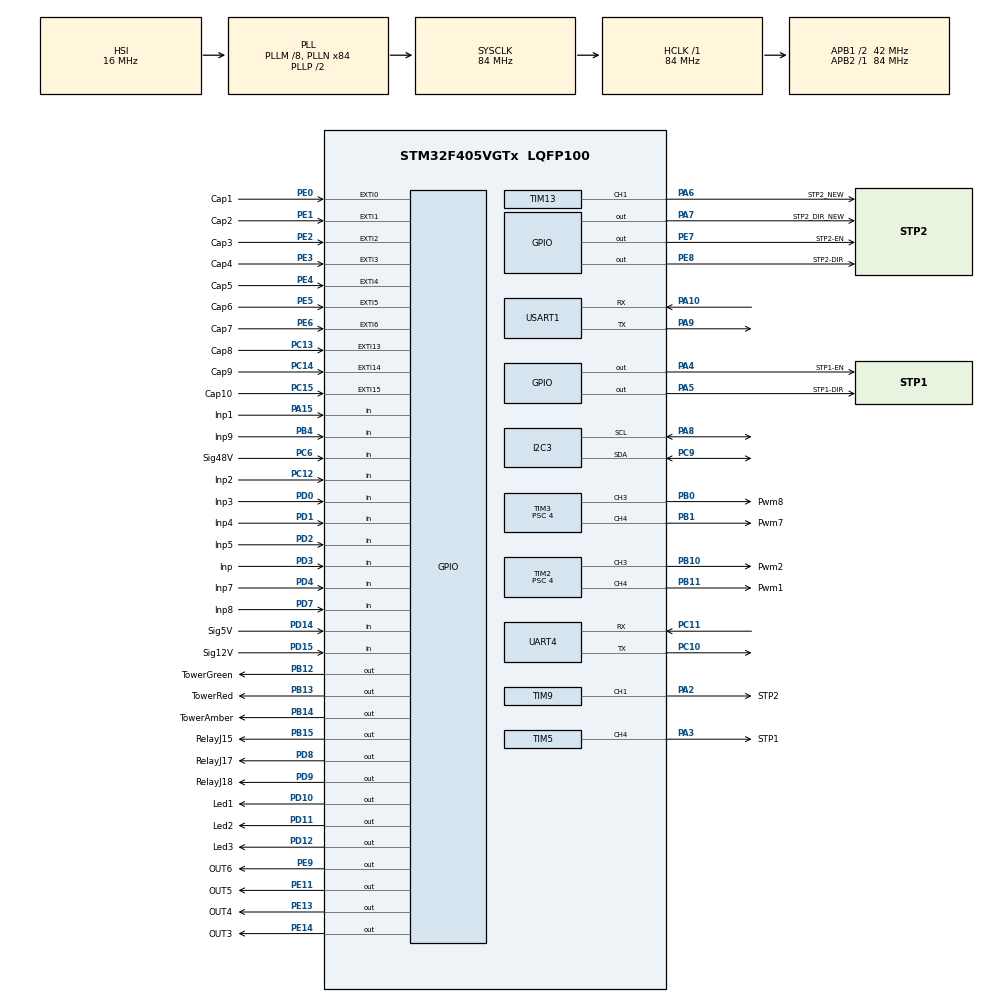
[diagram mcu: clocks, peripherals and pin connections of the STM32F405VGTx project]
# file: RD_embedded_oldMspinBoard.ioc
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Mcu.Family=STM32F4
Mcu.Name=STM32F405VGTx
Mcu.Package=LQFP100
NVIC.EXTI0_IRQn=true\:0\:0\:false\:false\:true\:true\:true\:true
NVIC.EXTI15_10_IRQn=true\:0\:0\:false\:false\:true\:true\:true\:true
NVIC.EXTI1_IRQn=true\:0\:0\:false\:false\:true\:true\:true\:true
NVIC.EXTI2_IRQn=true\:0\:0\:false\:false\:true\:true\:true\:true
NVIC.EXTI3_IRQn=true\:0\:0\:false\:false\:true\:true\:true\:true
NVIC.EXTI4_IRQn=true\:0\:0\:false\:false\:true\:true\:true\:true
NVIC.EXTI9_5_IRQn=true\:0\:0\:false\:false\:true\:true\:true\:true
NVIC.PriorityGroup=NVIC_PRIORITYGROUP_4
NVIC.TIM1_BRK_TIM9_IRQn=true\:0\:0\:false\:false\:true\:true\:true\:true
NVIC.TIM5_IRQn=true\:0\:0\:false\:false\:true\:true\:true\:true
NVIC.TIM6_DAC_IRQn=true\:0\:0\:false\:false\:true\:true\:true\:true
NVIC.TIM7_IRQn=true\:0\:0\:false\:false\:true\:true\:true\:true
NVIC.TIM8_TRG_COM_TIM14_IRQn=true\:0\:0\:false\:false\:true\:true\:true\:true
NVIC.TIM8_UP_TIM13_IRQn=true\:0\:0\:false\:false\:true\:true\:true\:true
NVIC.UART4_IRQn=true\:0\:0\:false\:false\:true\:true\:true\:true
NVIC.USART1_IRQn=true\:0\:0\:false\:false\:true\:true\:true\:true
PA10.Mode=Asynchronous
PA10.Signal=USART1_RX
PA15.GPIO_Label=Inp1
PA15.Signal=GPIO_Input
PA2.GPIO_Label=STP2
PA2.Signal=S_TIM9_CH1
PA3.GPIO_Label=STP1
PA3.Signal=S_TIM5_CH4
PA4.GPIO_Label=STP1-EN
PA4.Signal=GPIO_Output
PA5.GPIO_Label=STP1-DIR
PA5.Signal=GPIO_Output
PA6.GPIO_Label=STP2_NEW
PA6.Signal=S_TIM13_CH1
PA7.GPIO_Label=STP2_DIR_NEW
PA7.Signal=GPIO_Output
PA8.GPIO_Pu=GPIO_PULLUP
PA8.Mode=I2C
PA8.Signal=I2C3_SCL
PA9.Mode=Asynchronous
PA9.Signal=USART1_TX
PB0.GPIO_Label=Pwm8
PB0.Signal=S_TIM3_CH3
PB1.GPIO_Label=Pwm7
PB1.Signal=S_TIM3_CH4
PB10.GPIO_Label=Pwm2
PB10.Signal=S_TIM2_CH3
PB11.GPIO_Label=Pwm1
PB11.Signal=S_TIM2_CH4
PB12.GPIO_Label=TowerGreen
PB12.Signal=GPIO_Output
PB13.GPIO_Label=TowerRed
PB13.Signal=GPIO_Output
PB14.GPIO_Label=TowerAmber
PB14.Signal=GPIO_Output
PB15.GPIO_Label=RelayJ15
PB15.Signal=GPIO_Output
PB4.GPIO_Label=Inp9
PB4.Signal=GPIO_Input
PC10.Mode=Asynchronous
PC10.Signal=UART4_TX
PC11.Mode=Asynchronous
PC11.Signal=UART4_RX
PC12.GPIO_Label=Inp2
PC12.Signal=GPIO_Input
PC13-ANTI_TAMP.GPIO_Label=Cap8
PC13-ANTI_TAMP.GPIO_ModeDefaultEXTI=GPIO_MODE_IT_RISING_FALLING
PC13-ANTI_TAMP.GPIO_PuPd=GPIO_PULLUP
PC13-ANTI_TAMP.Signal=GPXTI13
PC14-OSC32_IN.GPIO_Label=Cap9
PC14-OSC32_IN.GPIO_ModeDefaultEXTI=GPIO_MODE_IT_RISING_FALLING
PC14-OSC32_IN.GPIO_PuPd=GPIO_PULLUP
PC14-OSC32_IN.Signal=GPXTI14
PC15-OSC32_OUT.GPIO_Label=Cap10
PC15-OSC32_OUT.GPIO_ModeDefaultEXTI=GPIO_MODE_IT_RISING_FALLING
PC15-OSC32_OUT.GPIO_PuPd=GPIO_PULLUP
PC15-OSC32_OUT.Signal=GPXTI15
PC6.GPIO_Label=Sig48V
PC6.Signal=GPIO_Input
PC9.GPIO_Pu=GPIO_PULLUP
PC9.Mode=I2C
PC9.Signal=I2C3_SDA
PD0.GPIO_Label=Inp3
PD0.Signal=GPIO_Input
PD1.GPIO_Label=Inp4
PD1.Signal=GPIO_Input
PD10.GPIO_Label=Led1
PD10.Signal=GPIO_Output
PD11.GPIO_Label=Led2
PD11.Signal=GPIO_Output
PD12.GPIO_Label=Led3
PD12.Signal=GPIO_Output
PD14.GPIO_Label=Sig5V
PD14.Signal=GPIO_Input
PD15.GPIO_Label=Sig12V
PD15.Signal=GPIO_Input
PD2.GPIO_Label=Inp5
PD2.Signal=GPIO_Input
PD3.GPIO_Label=Inp
PD3.Signal=GPIO_Input
PD4.GPIO_Label=Inp7
PD4.Signal=GPIO_Input
PD7.GPIO_Label=Inp8
PD7.Signal=GPIO_Input
PD8.GPIO_Label=RelayJ17
PD8.Signal=GPIO_Output
PD9.GPIO_Label=RelayJ18
PD9.Signal=GPIO_Output
PE0.GPIO_Label=Cap1
PE0.GPIO_ModeDefaultEXTI=GPIO_MODE_IT_RISING_FALLING
PE0.GPIO_PuPd=GPIO_PULLUP
PE0.Signal=GPXTI0
PE1.GPIO_Label=Cap2
PE1.GPIO_ModeDefaultEXTI=GPIO_MODE_IT_RISING_FALLING
PE1.GPIO_PuPd=GPIO_PULLUP
PE1.Signal=GPXTI1
PE11.GPIO_Label=OUT5
PE11.Signal=GPIO_Output
PE13.GPIO_Label=OUT4
PE13.Signal=GPIO_Output
PE14.GPIO_Label=OUT3
PE14.Signal=GPIO_Output
PE2.GPIO_Label=Cap3
PE2.GPIO_ModeDefaultEXTI=GPIO_MODE_IT_RISING_FALLING
PE2.GPIO_PuPd=GPIO_PULLUP
PE2.Signal=GPXTI2
PE3.GPIO_Label=Cap4
PE3.GPIO_ModeDefaultEXTI=GPIO_MODE_IT_RISING_FALLING
PE3.GPIO_PuPd=GPIO_PULLUP
PE3.Signal=GPXTI3
PE4.GPIO_Label=Cap5
PE4.GPIO_ModeDefaultEXTI=GPIO_MODE_IT_RISING_FALLING
PE4.GPIO_PuPd=GPIO_PULLUP
PE4.Signal=GPXTI4
PE5.GPIO_Label=Cap6
PE5.GPIO_ModeDefaultEXTI=GPIO_MODE_IT_RISING_FALLING
PE5.GPIO_PuPd=GPIO_PULLUP
PE5.Signal=GPXTI5
PE6.GPIO_Label=Cap7
PE6.GPIO_ModeDefaultEXTI=GPIO_MODE_IT_RISING_FALLING
PE6.GPIO_PuPd=GPIO_PULLUP
PE6.Signal=GPXTI6
PE7.GPIO_Label=STP2-EN
PE7.Signal=GPIO_Output
PE8.GPIO_Label=STP2-DIR
PE8.Signal=GPIO_Output
PE9.GPIO_Label=OUT6
PE9.Signal=GPIO_Output
ProjectManager.HeapSize=0x200
ProjectManager.StackSize=0x400
ProjectManager.TargetToolchain=STM32CubeIDE
RCC.48MHZClocksFreq_Value=42000000
RCC.AHBFreq_Value=84000000
RCC.APB1CLKDivider=RCC_HCLK_DIV2
RCC.APB1Freq_Value=42000000
RCC.APB1TimFreq_Value=84000000
RCC.APB2Freq_Value=84000000
RCC.APB2TimFreq_Value=84000000
RCC.CortexFreq_Value=84000000
RCC.HCLKFreq_Value=84000000
RCC.HSE_VALUE=25000000
RCC.HSI_VALUE=16000000
RCC.LSE_VALUE=32768
RCC.PLLM=8
RCC.PLLN=84
RCC.SYSCLKFreq_VALUE=84000000
RCC.SYSCLKSource=RCC_SYSCLKSOURCE_PLLCLK
RCC.VCOOutputFreq_Value=168000000
SH.S_TIM13_CH1.0=TIM13_CH1,PWM Generation1 CH1
SH.S_TIM2_CH3.0=TIM2_CH3,PWM Generation3 CH3
SH.S_TIM2_CH4.0=TIM2_CH4,PWM Generation4 CH4
SH.S_TIM3_CH3.0=TIM3_CH3,PWM Generation3 CH3
SH.S_TIM3_CH4.0=TIM3_CH4,PWM Generation4 CH4
SH.S_TIM5_CH4.0=TIM5_CH4,PWM Generation4 CH4
SH.S_TIM9_CH1.0=TIM9_CH1,PWM Generation1 CH1
TIM13.Channel=TIM_CHANNEL_1
TIM13.Period=99
TIM13.Prescaler=839
TIM2.Channel-PWM\ Generation3\ CH3=TIM_CHANNEL_3
TIM2.Channel-PWM\ Generation4\ CH4=TIM_CHANNEL_4
TIM2.OCPolarity_3=TIM_OCPOLARITY_HIGH
TIM2.OCPolarity_4=TIM_OCPOLARITY_HIGH
TIM2.Period=3000
TIM2.Prescaler=4
TIM3.Channel-PWM\ Generation3\ CH3=TIM_CHANNEL_3
TIM3.Channel-PWM\ Generation4\ CH4=TIM_CHANNEL_4
TIM3.OCPolarity_4=TIM_OCPOLARITY_HIGH
TIM3.Period=3000
TIM3.Prescaler=4
TIM5.Channel-PWM\ Generation4\ CH4=TIM_CHANNEL_4
TIM5.Period=100
TIM5.Prescaler=839
TIM5.TIM_MasterSlaveMode=TIM_MASTERSLAVEMODE_ENABLE
TIM6.Period=839
TIM6.Prescaler=9999
TIM7.Period=8400
TIM7.Prescaler=9999
TIM8.Period=419
TIM8.Prescaler=9999
TIM9.Channel-PWM\ Generation1\ CH1=TIM_CHANNEL_1
TIM9.Period=99
TIM9.Prescaler=839
UART4.VirtualMode=Asynchronous
USART1.VirtualMode=VM_ASYNC
VP_TIM13_VS_ClockSourceINT.Mode=Enable_Timer
VP_TIM6_VS_ClockSourceINT.Mode=Enable_Timer
VP_TIM7_VS_ClockSourceINT.Mode=Enable_Timer
VP_TIM8_VS_ClockSourceINT.Mode=Internal
board=FLYERFRAME

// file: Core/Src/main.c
/* USER CODE BEGIN Header */
/**
  ******************************************************************************
  * @file           : main.c
  * @brief          : Main program body
  ******************************************************************************
  * @attention
  *
  * Copyright (c) 2023 STMicroelectronics.
  * All rights reserved.
  *
  * This software is licensed under terms that can be found in the LICENSE file
  * in the root directory of this software component.
  * If no LICENSE file comes with this software, it is provided AS-IS.
  *
  ******************************************************************************
  */
/* USER CODE END Header */
#include "main.h"

/* USER CODE BEGIN Includes */
#include "Structs.h"
#include "Initialize.h"
#include "CommonConstants.h"
#include "HMI_Fns.h"
#include "HMI_Constants.h"
#include "StateFns.h"
#include "logicDefines.h"
#include "functionDefines.h"
#include "eeprom.h"

#include "VFD.h"
#include "Control.h"
#include "encoder.h"
#include "machineControl.h"

/* USER CODE END Includes */

I2C_HandleTypeDef hi2c3;

TIM_HandleTypeDef htim2;
TIM_HandleTypeDef htim3;
TIM_HandleTypeDef htim5;
TIM_HandleTypeDef htim6;
TIM_HandleTypeDef htim7;
TIM_HandleTypeDef htim8;
TIM_HandleTypeDef htim9;
TIM_HandleTypeDef htim13;

UART_HandleTypeDef huart4;
UART_HandleTypeDef huart1;

/* USER CODE BEGIN PV */
/* Private variables ---------------------------------------------------------*/
struct State S;
struct Uart U;
struct FlyerSettings fsp;
struct UpdateFlyerSettings ufsp;
struct Diagnostics D;

encoders encs;
ringDoubler rd;
machineSettingsTypeDef ms;
machineSettingsTypeDef msUpdate;
// HMI STRUCTS
struct HMI_InfoBase hsb;
struct HMI_RunPacket hrp;
struct HMI_StopPacket hsp;
struct HMI_DiagPacket hdp;
VFD vfd;

struct Motor M[6];
struct Error E;

char BufferRec [MAX_PACKET_SIZE_FROM_HMI];//BUFFER  FOR RECEIVE
const char* startBufferRec = BufferRec; // Pointer to start of Buffer Rec
char BufferTransmit[130] ;// Buffer for Transmit

/*char MOTORARRAY[8] = {0,RD_SPINDLE,RD_FRONTROLLER_FRONT,RD_BACKROLLER_FRONT,RD_FRONTROLLER_BACK,RD_BACKROLLER_BACK,RD_LIFT_FRONT,RD_LIFT_BACK};
char MOTORARRAY_HMI[8] = {0,HMI_RF_SPINDLE,,HMI_RF_BACKROLLER_FRONT,HMI_RD_FRONTROLLER_BACK,HMI_RD_BACKROLLER_BACK,HMI_RD_LIFT_FRONT,HMI_RD_LIFT_BACK};
 */

//Order of names in Array have to be same as order of motors(motor1,motor2..etc) //TO CHECK ORDER WITH SIVA
char MOTORARRAY[6] = {0,RD_FRONTROLLER_RIGHT,RD_FRONTROLLER_LEFT,RD_SPINDLE,RD_LIFT_FRONT,RD_LIFT_BACK};
char MOTORARRAY_HMI[6] = {0,HMI_RD_FRONTROLLER_RIGHT,HMI_RD_FRONTROLLER_LEFT,HMI_RD_SPINDLE,HMI_RD_LIFT_RIGHT,HMI_RD_LIFT_LEFT};

//Logic Variables
int keyPress = 0;
int allMotorsOn = 2;
extern int Cap1,Cap2,Cap3;
int stopSecondaryMotor = 0;
int restartMachine = 0;
int startFlag = 0;
int pulseCount = 0;
int pulseCount1 = 0; // Lift front
int pulseCount2 = 0; // Lift Back

//machine States
int homeFlag = 0; // flag to indicate to interrupt to switch on only 2 motors.

//main running variables
int currentLayer = 0;
int rampRpm = 5;
//flag for switching on REceive buffer properly
char firstTimeRXOn = 0;

//diag variables - these are defined in the diagnostic state File
extern unsigned int idxMotor_diag;
extern long diag_pwm;
extern int testMode;

//offset variable for motors
int flyer_DC_Offset = 100;
int bobbin_DC_Offset = 100;
int backRoller_DC_Offset = 100;
int frontRoller_DC_Offset = 100;
int rightMotor_DC_Offset = 100;
int leftMotor_DC_Offset = 100;
int filter1;
//production variables

int doffPercent = 0;

//homing variables
extern int rightMotorOn;
extern int leftMotorOn;
extern char homing_Normal_StateFront;
extern char homing_Normal_StateBack;

extern unsigned int windingLength1;
extern unsigned int bindingLength1;
extern unsigned int windingPps1;
extern unsigned int bindingPps1;

/* USER CODE END PV */

void SystemClock_Config(void);
static void MX_GPIO_Init(void);
static void MX_TIM2_Init(void);
static void MX_TIM3_Init(void);
static void MX_TIM6_Init(void);
static void MX_TIM7_Init(void);
static void MX_USART1_UART_Init(void);
static void MX_I2C3_Init(void);
static void MX_UART4_Init(void);
static void MX_TIM5_Init(void);
static void MX_TIM9_Init(void);
static void MX_TIM8_Init(void);
static void MX_TIM13_Init(void);
/* USER CODE BEGIN PFP */

/* USER CODE BEGIN PFP */
/* Private function prototypes -----------------------------------------------*/
void Winding_RIGHT(int step,int length);
void Binding_RIGHT(int step,int length);
void Winding_LEFT(int step,int length);
void Binding_LEFT(int step,int length);
void Homing_RIGHT(int step,int length);
void Homing_LEFT(int step,int length);
void ApplyPwms(void);
void AllSignalVoltageLow(void);
/* USER CODE END PFP */

/* USER CODE BEGIN 0 */

int prescaler = 0;
int directionChange = 0;
int directionChange1 = 0;
unsigned int chaseCount = 0;
int actualSpindleSpeed = 0;

extern int DoffOverRightHomingReached ;
extern int DoffOverLeftHomingReached ;
extern int doffOver;

uint8_t setVFD = 0;
uint8_t spindleSpeed_in = 0;
uint8_t startVFD = 0;
uint8_t stopVFD = 0;

uint8_t settingsWritingError = 0;
uint8_t settingsOK = 0;
uint8_t spindleSpeedCode = 0;
uint8_t dataWritten = 0;

void Winding_RIGHT(int step,int length){ // for RIGHT SIDE
	if(step >= 1){prescaler = 840000/step;}
	__HAL_TIM_SET_PRESCALER(&htim5,prescaler);
	HAL_GPIO_WritePin(GPIOA,STP1_DIR_Pin,GPIO_PIN_SET); //direction UP
	HAL_TIM_PWM_Start_IT(&htim5,TIM_CHANNEL_4);
	__HAL_TIM_SetCompare(&htim5, TIM_CHANNEL_4,50);

	if(pulseCount1 >= length ){
		pulseCount1 = 0;
		directionChange = directionChange * -1;
	}
}

void Binding_RIGHT(int step,int length){ // for RIGHT SIDE
	if(step >= 1){prescaler = 840000/step;}
	__HAL_TIM_SET_PRESCALER(&htim5,prescaler);
	HAL_GPIO_WritePin(GPIOA,STP1_DIR_Pin,GPIO_PIN_RESET); //direction down
	HAL_TIM_PWM_Start_IT(&htim5,TIM_CHANNEL_4);
	__HAL_TIM_SetCompare(&htim5, TIM_CHANNEL_4,50);

	if(pulseCount1 >= length){
		pulseCount1 = 0;
		directionChange = directionChange * -1;
		rd.strokeNoRight++;
	}
}

void Winding_LEFT(int step,int length){
	if(step >= 1){prescaler = 840000/step;}
	__HAL_TIM_SET_PRESCALER(&htim13,prescaler);
	HAL_GPIO_WritePin(STP2_DIR_NEW_GPIO_Port,STP2_DIR_NEW_Pin,GPIO_PIN_SET); //direction UP
	HAL_TIM_PWM_Start_IT(&htim13,TIM_CHANNEL_1);
	__HAL_TIM_SetCompare(&htim13, TIM_CHANNEL_1,50);

	if(pulseCount2 >= length ){
		pulseCount2 = 0;
		directionChange1 = directionChange1 * -1;
	}
}

void Binding_LEFT(int step,int length){
	if(step >= 1){prescaler = 840000/step;}
	__HAL_TIM_SET_PRESCALER(&htim13,prescaler);
	HAL_GPIO_WritePin(STP2_DIR_NEW_GPIO_Port,STP2_DIR_NEW_Pin,GPIO_PIN_RESET); //direction down
	HAL_TIM_PWM_Start_IT(&htim13,TIM_CHANNEL_1);
	__HAL_TIM_SetCompare(&htim13, TIM_CHANNEL_1,50);

	if(pulseCount2 >= length){
		pulseCount2 = 0;
		directionChange1 = directionChange1 * -1;
		rd.strokeNoLeft++;
	}
}

void Homing_RIGHT(int step,int length)
{
	prescaler = 840000/step;
	__HAL_TIM_SET_PRESCALER(&htim5,prescaler);
	HAL_TIM_PWM_Start_IT(&htim5,TIM_CHANNEL_4);
	__HAL_TIM_SetCompare(&htim5, TIM_CHANNEL_4,50);

}

void Homing_LEFT(int step,int length)
{
	prescaler = 840000/step;
	__HAL_TIM_SET_PRESCALER(&htim13,prescaler);
	HAL_TIM_PWM_Start_IT(&htim13,TIM_CHANNEL_1);
	__HAL_TIM_SetCompare(&htim13, TIM_CHANNEL_1,50);

}

void LiftTest(int step,int length,char liftMotor,int liftDirection)
{
	prescaler = 840000/step;

	if (liftMotor == HMI_RD_LIFT_RIGHT){
		__HAL_TIM_SET_PRESCALER(&htim5,prescaler);
		if (liftDirection == LIFT_UP){
			HAL_GPIO_WritePin(GPIOA,STP1_DIR_Pin,GPIO_PIN_SET); //direction UP
		}
		if (liftDirection == LIFT_DOWN){
			HAL_GPIO_WritePin(GPIOA,STP1_DIR_Pin,GPIO_PIN_RESET); //direction DOWN
		}

		HAL_TIM_PWM_Start_IT(&htim5,TIM_CHANNEL_4);
		__HAL_TIM_SetCompare(&htim5, TIM_CHANNEL_4,50);

		if(pulseCount1 >= (length * 100)){
			HAL_TIM_PWM_Stop_IT(&htim5,TIM_CHANNEL_4);
			pulseCount1 = 0;
			D.liftOver = 1;
			}
		}

	//changed from tim9 CH1 to Tim14 Ch1
	if (liftMotor == HMI_RD_LIFT_LEFT){
		__HAL_TIM_SET_PRESCALER(&htim13,prescaler);
		if (liftDirection == LIFT_UP){
			HAL_GPIO_WritePin(STP2_DIR_NEW_GPIO_Port,STP2_DIR_NEW_Pin,GPIO_PIN_SET); //direction UP
		}
		if (liftDirection == LIFT_DOWN){
			HAL_GPIO_WritePin(STP2_DIR_NEW_GPIO_Port,STP2_DIR_NEW_Pin,GPIO_PIN_RESET); //direction DOWN
		}

		HAL_TIM_PWM_Start_IT(&htim13,TIM_CHANNEL_1);
		__HAL_TIM_SetCompare(&htim13, TIM_CHANNEL_1,50);

		if(pulseCount2 >= (length * 100)){
			HAL_TIM_PWM_Stop_IT(&htim13,TIM_CHANNEL_1);
			pulseCount2 = 0;
			D.liftOver = 1;
		}
	}
}

void HAL_TIM_PWM_PulseFinishedCallback(TIM_HandleTypeDef *htim){

	if (htim->Instance==TIM5){
		pulseCount1++;
	}

	if (htim->Instance==TIM13){
		pulseCount2++;
	}

}

void HAL_TIM_PeriodElapsedCallback(TIM_HandleTypeDef *htim)  {
			// A 1 sec TIMER
	if (htim->Instance==TIM7){ //check if the interrupt comes from TIM7
		LedToggle(LED2);
		U.TXtransfer = 1;
		S.oneSecTimer += 1;
	}

	//50ms timer for running control loop.
	if (htim->Instance==TIM8){
		if(testMode == 1){
			UpdateRPM(&encs);
			if (D.typeofTest == HMI_DIAG_CLOSED_LOOP){
				followTargets(idxMotor_diag);
				ApplyPwms();
			}
		}
		if (allMotorsOn == 1){
			UpdateRPM(&encs);
			followTargets(MOTOR1);
			followTargets(MOTOR2);
			ApplyPwms();
		}
	}

	//100ms timer
	// 3 main control things happens here -> Test Mode, Homing and main Running
	if (htim->Instance==TIM6){
	   if (testMode == 1){
		   if (D.liftMode == 1){
			   LiftTest(100,D.liftDistance,D.liftMotor,D.liftDirection);
		   }
		   else{
			   MotorDrive(ENABLE_D);
			   if (D.typeofTest == HMI_DIAG_CLOSED_LOOP){
				   updateTargets(idxMotor_diag,1);
			   }
			   if (D.typeofTest == HMI_DIAG_OPEN_LOOP){
				   UpdateMotorVoltage(idxMotor_diag,diag_pwm); // inside this rpm goes into MotorIndex
				   ApplyPwms();
			   }
		   }
	   }

	   if (homeFlag == 1){
		   if (homing_Normal_StateFront != OFF){
			   Homing_RIGHT(100,300);
		   }

		   if (homing_Normal_StateBack != OFF){ // for back side
			   Homing_LEFT(100,300);
		   }
	   }

	   if(allMotorsOn == 1){
		   LedToggle(LED3);
		   actualSpindleSpeed = vfd.presentRPM;//CHECK
		   if(startFlag == 1){
			   calculateSpindleMotorSpeed(&vfd,1);
			   ContinuousRDCalculations(&ms,&rd);
			   M[MOTOR1].intTarget = rd.calenderMotorRPM;
			   M[MOTOR2].intTarget = rd.calenderMotorRPM;
		   }

		   if(startFlag == 0){
			   calculateSpindleMotorSpeed(&vfd,0);
			   ContinuousRDCalculations(&ms,&rd);
			   M[MOTOR1].intTarget = rd.calenderMotorRPM;
			   M[MOTOR2].intTarget = rd.calenderMotorRPM;

				if((vfd.presentRPM <= 100) && (stopSecondaryMotor == 1))
				{
					ResetSecondaryMotor(); // reset all motor struct variables (Kp,Ki,Kd,err,pwm)
					ResetEncoderVariables(&encs); //cap1,filter,rpm
					M[MOTOR1].pwm = 0;
					M[MOTOR1].setRpm = 0;
					M[MOTOR2].setRpm = 0;
					M[MOTOR2].pwm = 0;
					allMotorsOn = 0;
					S.keyState = ENABLE_KEYPRESS;
					MotorDrive(DISABLE_D);
					AllSignalVoltageLow();
				}
		}

		//----handles right side stepper
		if(directionChange == 1){
			if(rd.bindingPps >=1){
			Binding_RIGHT(rd.bindingPps,rd.bindingStrokePps);
			}
		}
		if(directionChange == -1){
			if(rd.windingPps >1){
			Winding_RIGHT(rd.windingPps,rd.windingStrokePps);
			}
		}

		//----handles left side stepper
		if(directionChange1 == 1){
			if(rd.bindingPps >=1){
			Binding_LEFT(rd.bindingPps,rd.bindingStrokePps);
			}
		}
		if(directionChange1 == -1){
			if(rd.windingPps >1){
				Winding_LEFT(rd.windingPps,rd.windingStrokePps);
			}
		}

	   } //closes allMotorsOn

		if (allMotorsOn == 0){
			//turn off the lifts
			__HAL_TIM_SetCompare(&htim5, TIM_CHANNEL_4,1);
			HAL_TIM_PWM_Stop_IT(&htim5,TIM_CHANNEL_4);
			__HAL_TIM_SetCompare(&htim13, TIM_CHANNEL_1,1);
			HAL_TIM_PWM_Stop_IT(&htim13,TIM_CHANNEL_1);
		}

	} //closes tim6
}

/* USER CODE END 0 */

int main(void)
{

  /* MCU Configuration--------------------------------------------------------*/

  /* Reset of all peripherals, Initializes the Flash interface and the Systick. */
  HAL_Init();

  /* Configure the system clock */
  SystemClock_Config();

  /* Initialize all configured peripherals */
  MX_GPIO_Init();
  MX_TIM2_Init();
  MX_TIM3_Init();
  MX_TIM6_Init();
  MX_TIM7_Init();
  MX_USART1_UART_Init();
  MX_I2C3_Init();
  MX_UART4_Init();
  MX_TIM5_Init();
  MX_TIM9_Init();
  MX_TIM8_Init();
  MX_TIM13_Init();
  /* USER CODE BEGIN 2 */

  /*Tim8 is 50 ms interrupt for running the control loop
  Tim6 is the 100ms interrupt to do setting target*/

  InitializeStateStruct(); // sets state to idle and paired =0
  InitializeDiagnosticsStruct();
  InitializeUartStruct();

  InitializeMachineSettings(&ms);
  InitializeMachineSettings(&msUpdate);

  //Read settings from Eeprom and check
  ReadMachineSettingsFromEeprom(&ms);
  settingsOK = CheckMachineSettings(&ms);
  if(!settingsOK){
	  LoadDefaultMachineSettings(&ms);
	  settingsWritingError = WriteMachineSettingsIntoEeprom(&ms);
  }
  //Manual setup of machine params
  /*
  ms.inputYarnCountNe = 30;
  ms.outputYarnDia = 0.31;
  ms.packageHeight = 200;
  ms.spindleSpeed= 8000;
  ms.diaBuildFactor = 0.6;
  ms.tpi = 20;
  ms.windingClosenessFactor = 108;
  ms.windingOffsetCoils = 1.5;*/

  //TODO later
  //ReadOldDoffSettingsFromEeprom();
  spindleSpeedCode =  getSpindleSpeedCode(ms.spindleSpeed);
  VFD_setSpindleSpeed(&vfd, spindleSpeedCode); //set this based on settings
  SetupRDCalculations(&ms,&rd);

	//Initialize the HMI Structs
  Create_HMI_BasePacket();
  Create_HMI_Run_Packet();
  Create_HMI_StopPacket();
  Create_HMI_DiagPacket();

  //Interrupts on HMI UART- UART1
  __HAL_UART_ENABLE_IT(&huart1,UART_IT_IDLE);//interrupt on receive buffer not empty(buffer full)
  HAL_UART_Receive_IT(&huart1,(uint8_t *)BufferRec,MAX_PACKET_SIZE_FROM_HMI);	 // start the receive here.
 // __HAL_UART_ENABLE_IT(&huart1,UART_IT_TXE );//interrupt on Transmit  buffer empty

  HAL_TIM_Base_Start_IT(&htim6); // MAIN TIMER FOR MOTOR CONTROL PWM - 100ms
  HAL_TIM_Base_Start_IT(&htim8); // MAIN TIMER FOR control loop - 50ms

  // Switch on all the timers for the PWM , and set them low immediately
  AllTimerOn();
  AllSignalVoltageLow();

  //Init the Motor Struct
  MotorStructInit();

  /* USER CODE END 2 */

  /* Infinite loop */
  /* USER CODE BEGIN WHILE */
  while (1)
  {

	 /* if (setVFD){
		  VFD_setSpindleSpeed(&vfd, spindleSpeed_in);
		  setVFD = 0;
	  }

	  if (startVFD){
		  VFD_startInductionMotor(&vfd);
		  startVFD = 0;
	  }

	  if (stopVFD){
		  VFD_stopInductionMotor(&vfd);
		  stopVFD = 0;
	  }*/

  	if (S.current_state == IDLE_STATE){
		IdleState();
	}

	if (S.current_state == HOMING_STATE){
		HomingState();
	}

	if (S.current_state == RUN_STATE){
		RunState();
	}

	if (S.current_state == HALT_STATE){
		HaltState();
	}

	if (S.current_state == PAUSE_STATE){
		PauseState();
	}

	if (S.current_state == UPDATESETTINGS){
		SettingsState();
	}

	if (S.current_state == DIAGNOSTIC_STATE){
		DiagnosticsState();
	}

    /* USER CODE END WHILE */

  }
}

void SystemClock_Config(void)
{
  RCC_OscInitTypeDef RCC_OscInitStruct = {0};
  RCC_ClkInitTypeDef RCC_ClkInitStruct = {0};

  /** Configure the main internal regulator output voltage
  */
  __HAL_RCC_PWR_CLK_ENABLE();
  __HAL_PWR_VOLTAGESCALING_CONFIG(PWR_REGULATOR_VOLTAGE_SCALE1);

  /** Initializes the RCC Oscillators according to the specified parameters
  * in the RCC_OscInitTypeDef structure.
  */
  RCC_OscInitStruct.OscillatorType = RCC_OSCILLATORTYPE_HSI;
  RCC_OscInitStruct.HSIState = RCC_HSI_ON;
  RCC_OscInitStruct.HSICalibrationValue = RCC_HSICALIBRATION_DEFAULT;
  RCC_OscInitStruct.PLL.PLLState = RCC_PLL_ON;
  RCC_OscInitStruct.PLL.PLLSource = RCC_PLLSOURCE_HSI;
  RCC_OscInitStruct.PLL.PLLM = 8;
  RCC_OscInitStruct.PLL.PLLN = 84;
  RCC_OscInitStruct.PLL.PLLP = RCC_PLLP_DIV2;
  RCC_OscInitStruct.PLL.PLLQ = 4;
  if (HAL_RCC_OscConfig(&RCC_OscInitStruct) != HAL_OK)
  {
    Error_Handler();
  }

  /** Initializes the CPU, AHB and APB buses clocks
  */
  RCC_ClkInitStruct.ClockType = RCC_CLOCKTYPE_HCLK|RCC_CLOCKTYPE_SYSCLK
                              |RCC_CLOCKTYPE_PCLK1|RCC_CLOCKTYPE_PCLK2;
  RCC_ClkInitStruct.SYSCLKSource = RCC_SYSCLKSOURCE_PLLCLK;
  RCC_ClkInitStruct.AHBCLKDivider = RCC_SYSCLK_DIV1;
  RCC_ClkInitStruct.APB1CLKDivider = RCC_HCLK_DIV2;
  RCC_ClkInitStruct.APB2CLKDivider = RCC_HCLK_DIV1;

  if (HAL_RCC_ClockConfig(&RCC_ClkInitStruct, FLASH_LATENCY_2) != HAL_OK)
  {
    Error_Handler();
  }
}

static void MX_I2C3_Init(void)
{

  hi2c3.Instance = I2C3;
  hi2c3.Init.ClockSpeed = 100000;
  hi2c3.Init.DutyCycle = I2C_DUTYCYCLE_2;
  hi2c3.Init.OwnAddress1 = 0;
  hi2c3.Init.AddressingMode = I2C_ADDRESSINGMODE_7BIT;
  hi2c3.Init.DualAddressMode = I2C_DUALADDRESS_DISABLE;
  hi2c3.Init.OwnAddress2 = 0;
  hi2c3.Init.GeneralCallMode = I2C_GENERALCALL_DISABLE;
  hi2c3.Init.NoStretchMode = I2C_NOSTRETCH_DISABLE;
  if (HAL_I2C_Init(&hi2c3) != HAL_OK)
  {
    Error_Handler();
  }

}

static void MX_TIM2_Init(void)
{

  TIM_MasterConfigTypeDef sMasterConfig = {0};
  TIM_OC_InitTypeDef sConfigOC = {0};

  htim2.Instance = TIM2;
  htim2.Init.Prescaler = 4;
  htim2.Init.CounterMode = TIM_COUNTERMODE_UP;
  htim2.Init.Period = 3000;
  htim2.Init.ClockDivision = TIM_CLOCKDIVISION_DIV1;
  htim2.Init.AutoReloadPreload = TIM_AUTORELOAD_PRELOAD_DISABLE;
  if (HAL_TIM_PWM_Init(&htim2) != HAL_OK)
  {
    Error_Handler();
  }
  sMasterConfig.MasterOutputTrigger = TIM_TRGO_RESET;
  sMasterConfig.MasterSlaveMode = TIM_MASTERSLAVEMODE_DISABLE;
  if (HAL_TIMEx_MasterConfigSynchronization(&htim2, &sMasterConfig) != HAL_OK)
  {
    Error_Handler();
  }
  sConfigOC.OCMode = TIM_OCMODE_PWM1;
  sConfigOC.Pulse = 0;
  sConfigOC.OCPolarity = TIM_OCPOLARITY_HIGH;
  sConfigOC.OCFastMode = TIM_OCFAST_DISABLE;
  if (HAL_TIM_PWM_ConfigChannel(&htim2, &sConfigOC, TIM_CHANNEL_3) != HAL_OK)
  {
    Error_Handler();
  }
  if (HAL_TIM_PWM_ConfigChannel(&htim2, &sConfigOC, TIM_CHANNEL_4) != HAL_OK)
  {
    Error_Handler();
  }
  HAL_TIM_MspPostInit(&htim2);

}

static void MX_TIM3_Init(void)
{

  TIM_MasterConfigTypeDef sMasterConfig = {0};
  TIM_OC_InitTypeDef sConfigOC = {0};

  htim3.Instance = TIM3;
  htim3.Init.Prescaler = 4;
  htim3.Init.CounterMode = TIM_COUNTERMODE_UP;
  htim3.Init.Period = 3000;
  htim3.Init.ClockDivision = TIM_CLOCKDIVISION_DIV1;
  htim3.Init.AutoReloadPreload = TIM_AUTORELOAD_PRELOAD_DISABLE;
  if (HAL_TIM_PWM_Init(&htim3) != HAL_OK)
  {
    Error_Handler();
  }
  sMasterConfig.MasterOutputTrigger = TIM_TRGO_RESET;
  sMasterConfig.MasterSlaveMode = TIM_MASTERSLAVEMODE_DISABLE;
  if (HAL_TIMEx_MasterConfigSynchronization(&htim3, &sMasterConfig) != HAL_OK)
  {
    Error_Handler();
  }
  sConfigOC.OCMode = TIM_OCMODE_PWM1;
  sConfigOC.Pulse = 0;
  sConfigOC.OCPolarity = TIM_OCPOLARITY_HIGH;
  sConfigOC.OCFastMode = TIM_OCFAST_DISABLE;
  if (HAL_TIM_PWM_ConfigChannel(&htim3, &sConfigOC, TIM_CHANNEL_3) != HAL_OK)
  {
    Error_Handler();
  }
  if (HAL_TIM_PWM_ConfigChannel(&htim3, &sConfigOC, TIM_CHANNEL_4) != HAL_OK)
  {
    Error_Handler();
  }
  HAL_TIM_MspPostInit(&htim3);

}

static void MX_TIM5_Init(void)
{

  TIM_MasterConfigTypeDef sMasterConfig = {0};
  TIM_OC_InitTypeDef sConfigOC = {0};

  htim5.Instance = TIM5;
  htim5.Init.Prescaler = 839;
  htim5.Init.CounterMode = TIM_COUNTERMODE_UP;
  htim5.Init.Period = 100;
  htim5.Init.ClockDivision = TIM_CLOCKDIVISION_DIV1;
  htim5.Init.AutoReloadPreload = TIM_AUTORELOAD_PRELOAD_DISABLE;
  if (HAL_TIM_PWM_Init(&htim5) != HAL_OK)
  {
    Error_Handler();
  }
  sMasterConfig.MasterOutputTrigger = TIM_TRGO_RESET;
  sMasterConfig.MasterSlaveMode = TIM_MASTERSLAVEMODE_ENABLE;
  if (HAL_TIMEx_MasterConfigSynchronization(&htim5, &sMasterConfig) != HAL_OK)
  {
    Error_Handler();
  }
  sConfigOC.OCMode = TIM_OCMODE_PWM1;
  sConfigOC.Pulse = 0;
  sConfigOC.OCPolarity = TIM_OCPOLARITY_HIGH;
  sConfigOC.OCFastMode = TIM_OCFAST_DISABLE;
  if (HAL_TIM_PWM_ConfigChannel(&htim5, &sConfigOC, TIM_CHANNEL_4) != HAL_OK)
  {
    Error_Handler();
  }
  HAL_TIM_MspPostInit(&htim5);

}

static void MX_TIM6_Init(void)
{

  TIM_MasterConfigTypeDef sMasterConfig = {0};

  htim6.Instance = TIM6;
  htim6.Init.Prescaler = 9999;
  htim6.Init.CounterMode = TIM_COUNTERMODE_UP;
  htim6.Init.Period = 839;
  htim6.Init.AutoReloadPreload = TIM_AUTORELOAD_PRELOAD_DISABLE;
  if (HAL_TIM_Base_Init(&htim6) != HAL_OK)
  {
    Error_Handler();
  }
  sMasterConfig.MasterOutputTrigger = TIM_TRGO_RESET;
  sMasterConfig.MasterSlaveMode = TIM_MASTERSLAVEMODE_DISABLE;
  if (HAL_TIMEx_MasterConfigSynchronization(&htim6, &sMasterConfig) != HAL_OK)
  {
    Error_Handler();
  }

}

static void MX_TIM7_Init(void)
{

  TIM_MasterConfigTypeDef sMasterConfig = {0};

  htim7.Instance = TIM7;
  htim7.Init.Prescaler = 9999;
  htim7.Init.CounterMode = TIM_COUNTERMODE_UP;
  htim7.Init.Period = 8400;
  htim7.Init.AutoReloadPreload = TIM_AUTORELOAD_PRELOAD_DISABLE;
  if (HAL_TIM_Base_Init(&htim7) != HAL_OK)
  {
    Error_Handler();
  }
  sMasterConfig.MasterOutputTrigger = TIM_TRGO_RESET;
  sMasterConfig.MasterSlaveMode = TIM_MASTERSLAVEMODE_DISABLE;
  if (HAL_TIMEx_MasterConfigSynchronization(&htim7, &sMasterConfig) != HAL_OK)
  {
    Error_Handler();
  }

}

static void MX_TIM8_Init(void)
{

  TIM_ClockConfigTypeDef sClockSourceConfig = {0};
  TIM_MasterConfigTypeDef sMasterConfig = {0};

  htim8.Instance = TIM8;
  htim8.Init.Prescaler = 9999;
  htim8.Init.CounterMode = TIM_COUNTERMODE_UP;
  htim8.Init.Period = 419;
  htim8.Init.ClockDivision = TIM_CLOCKDIVISION_DIV1;
  htim8.Init.RepetitionCounter = 0;
  htim8.Init.AutoReloadPreload = TIM_AUTORELOAD_PRELOAD_DISABLE;
  if (HAL_TIM_Base_Init(&htim8) != HAL_OK)
  {
    Error_Handler();
  }
  sClockSourceConfig.ClockSource = TIM_CLOCKSOURCE_INTERNAL;
  if (HAL_TIM_ConfigClockSource(&htim8, &sClockSourceConfig) != HAL_OK)
  {
    Error_Handler();
  }
  sMasterConfig.MasterOutputTrigger = TIM_TRGO_RESET;
  sMasterConfig.MasterSlaveMode = TIM_MASTERSLAVEMODE_DISABLE;
  if (HAL_TIMEx_MasterConfigSynchronization(&htim8, &sMasterConfig) != HAL_OK)
  {
    Error_Handler();
  }

}

static void MX_TIM9_Init(void)
{

  TIM_OC_InitTypeDef sConfigOC = {0};

  htim9.Instance = TIM9;
  htim9.Init.Prescaler = 839;
  htim9.Init.CounterMode = TIM_COUNTERMODE_UP;
  htim9.Init.Period = 99;
  htim9.Init.ClockDivision = TIM_CLOCKDIVISION_DIV1;
  htim9.Init.AutoReloadPreload = TIM_AUTORELOAD_PRELOAD_DISABLE;
  if (HAL_TIM_PWM_Init(&htim9) != HAL_OK)
  {
    Error_Handler();
  }
  sConfigOC.OCMode = TIM_OCMODE_PWM1;
  sConfigOC.Pulse = 0;
  sConfigOC.OCPolarity = TIM_OCPOLARITY_HIGH;
  sConfigOC.OCFastMode = TIM_OCFAST_DISABLE;
  if (HAL_TIM_PWM_ConfigChannel(&htim9, &sConfigOC, TIM_CHANNEL_1) != HAL_OK)
  {
    Error_Handler();
  }
  HAL_TIM_MspPostInit(&htim9);

}

static void MX_TIM13_Init(void)
{

  TIM_OC_InitTypeDef sConfigOC = {0};

  htim13.Instance = TIM13;
  htim13.Init.Prescaler = 839;
  htim13.Init.CounterMode = TIM_COUNTERMODE_UP;
  htim13.Init.Period = 99;
  htim13.Init.ClockDivision = TIM_CLOCKDIVISION_DIV1;
  htim13.Init.AutoReloadPreload = TIM_AUTORELOAD_PRELOAD_DISABLE;
  if (HAL_TIM_Base_Init(&htim13) != HAL_OK)
  {
    Error_Handler();
  }
  if (HAL_TIM_PWM_Init(&htim13) != HAL_OK)
  {
    Error_Handler();
  }
  sConfigOC.OCMode = TIM_OCMODE_PWM1;
  sConfigOC.Pulse = 0;
  sConfigOC.OCPolarity = TIM_OCPOLARITY_HIGH;
  sConfigOC.OCFastMode = TIM_OCFAST_DISABLE;
  if (HAL_TIM_PWM_ConfigChannel(&htim13, &sConfigOC, TIM_CHANNEL_1) != HAL_OK)
  {
    Error_Handler();
  }
  HAL_TIM_MspPostInit(&htim13);

}

static void MX_UART4_Init(void)
{

  huart4.Instance = UART4;
  huart4.Init.BaudRate = 115200;
  huart4.Init.WordLength = UART_WORDLENGTH_8B;
  huart4.Init.StopBits = UART_STOPBITS_1;
  huart4.Init.Parity = UART_PARITY_NONE;
  huart4.Init.Mode = UART_MODE_TX_RX;
  huart4.Init.HwFlowCtl = UART_HWCONTROL_NONE;
  huart4.Init.OverSampling = UART_OVERSAMPLING_16;
  if (HAL_UART_Init(&huart4) != HAL_OK)
  {
    Error_Handler();
  }

}

static void MX_USART1_UART_Init(void)
{

  huart1.Instance = USART1;
  huart1.Init.BaudRate = 115200;
  huart1.Init.WordLength = UART_WORDLENGTH_8B;
  huart1.Init.StopBits = UART_STOPBITS_1;
  huart1.Init.Parity = UART_PARITY_NONE;
  huart1.Init.Mode = UART_MODE_TX_RX;
  huart1.Init.HwFlowCtl = UART_HWCONTROL_NONE;
  huart1.Init.OverSampling = UART_OVERSAMPLING_16;
  if (HAL_UART_Init(&huart1) != HAL_OK)
  {
    Error_Handler();
  }

}

static void MX_GPIO_Init(void)
{
  GPIO_InitTypeDef GPIO_InitStruct = {0};

  /* GPIO Ports Clock Enable */
  __HAL_RCC_GPIOE_CLK_ENABLE();
  __HAL_RCC_GPIOC_CLK_ENABLE();
  __HAL_RCC_GPIOA_CLK_ENABLE();
  __HAL_RCC_GPIOB_CLK_ENABLE();
  __HAL_RCC_GPIOD_CLK_ENABLE();

  /*Configure GPIO pin Output Level */
  HAL_GPIO_WritePin(GPIOA, STP1_EN_Pin|STP1_DIR_Pin|STP2_DIR_NEW_Pin, GPIO_PIN_RESET);

  /*Configure GPIO pin Output Level */
  HAL_GPIO_WritePin(GPIOE, STP2_EN_Pin|STP2_DIR_Pin|OUT6_Pin|OUT5_Pin
                          |OUT4_Pin|OUT3_Pin, GPIO_PIN_RESET);

  /*Configure GPIO pin Output Level */
  HAL_GPIO_WritePin(GPIOB, TowerGreen_Pin|TowerRed_Pin|TowerAmber_Pin|RelayJ15_Pin, GPIO_PIN_RESET);

  /*Configure GPIO pin Output Level */
  HAL_GPIO_WritePin(GPIOD, RelayJ17_Pin|RelayJ18_Pin|Led1_Pin|Led2_Pin
                          |Led3_Pin, GPIO_PIN_RESET);

  /*Configure GPIO pins : Cap3_Pin Cap4_Pin Cap5_Pin Cap6_Pin
                           Cap7_Pin Cap1_Pin Cap2_Pin */
  GPIO_InitStruct.Pin = Cap3_Pin|Cap4_Pin|Cap5_Pin|Cap6_Pin
                          |Cap7_Pin|Cap1_Pin|Cap2_Pin;
  GPIO_InitStruct.Mode = GPIO_MODE_IT_RISING_FALLING;
  GPIO_InitStruct.Pull = GPIO_PULLUP;
  HAL_GPIO_Init(GPIOE, &GPIO_InitStruct);

  /*Configure GPIO pins : Cap8_Pin Cap9_Pin Cap10_Pin */
  GPIO_InitStruct.Pin = Cap8_Pin|Cap9_Pin|Cap10_Pin;
  GPIO_InitStruct.Mode = GPIO_MODE_IT_RISING_FALLING;
  GPIO_InitStruct.Pull = GPIO_PULLUP;
  HAL_GPIO_Init(GPIOC, &GPIO_InitStruct);

  /*Configure GPIO pins : STP1_EN_Pin STP1_DIR_Pin STP2_DIR_NEW_Pin */
  GPIO_InitStruct.Pin = STP1_EN_Pin|STP1_DIR_Pin|STP2_DIR_NEW_Pin;
  GPIO_InitStruct.Mode = GPIO_MODE_OUTPUT_PP;
  GPIO_InitStruct.Pull = GPIO_NOPULL;
  GPIO_InitStruct.Speed = GPIO_SPEED_FREQ_LOW;
  HAL_GPIO_Init(GPIOA, &GPIO_InitStruct);

  /*Configure GPIO pins : STP2_EN_Pin STP2_DIR_Pin OUT6_Pin OUT5_Pin
                           OUT4_Pin OUT3_Pin */
  GPIO_InitStruct.Pin = STP2_EN_Pin|STP2_DIR_Pin|OUT6_Pin|OUT5_Pin
                          |OUT4_Pin|OUT3_Pin;
  GPIO_InitStruct.Mode = GPIO_MODE_OUTPUT_PP;
  GPIO_InitStruct.Pull = GPIO_NOPULL;
  GPIO_InitStruct.Speed = GPIO_SPEED_FREQ_LOW;
  HAL_GPIO_Init(GPIOE, &GPIO_InitStruct);

  /*Configure GPIO pins : TowerGreen_Pin TowerRed_Pin TowerAmber_Pin RelayJ15_Pin */
  GPIO_InitStruct.Pin = TowerGreen_Pin|TowerRed_Pin|TowerAmber_Pin|RelayJ15_Pin;
  GPIO_InitStruct.Mode = GPIO_MODE_OUTPUT_PP;
  GPIO_InitStruct.Pull = GPIO_NOPULL;
  GPIO_InitStruct.Speed = GPIO_SPEED_FREQ_LOW;
  HAL_GPIO_Init(GPIOB, &GPIO_InitStruct);

  /*Configure GPIO pins : RelayJ17_Pin RelayJ18_Pin Led1_Pin Led2_Pin
                           Led3_Pin */
  GPIO_InitStruct.Pin = RelayJ17_Pin|RelayJ18_Pin|Led1_Pin|Led2_Pin
                          |Led3_Pin;
  GPIO_InitStruct.Mode = GPIO_MODE_OUTPUT_PP;
  GPIO_InitStruct.Pull = GPIO_NOPULL;
  GPIO_InitStruct.Speed = GPIO_SPEED_FREQ_LOW;
  HAL_GPIO_Init(GPIOD, &GPIO_InitStruct);

  /*Configure GPIO pins : Sig5V_Pin Sig12V_Pin Inp3_Pin Inp4_Pin
                           Inp5_Pin Inp_Pin Inp7_Pin Inp8_Pin */
  GPIO_InitStruct.Pin = Sig5V_Pin|Sig12V_Pin|Inp3_Pin|Inp4_Pin
                          |Inp5_Pin|Inp_Pin|Inp7_Pin|Inp8_Pin;
  GPIO_InitStruct.Mode = GPIO_MODE_INPUT;
  GPIO_InitStruct.Pull = GPIO_NOPULL;
  HAL_GPIO_Init(GPIOD, &GPIO_InitStruct);

  /*Configure GPIO pins : Sig48V_Pin Inp2_Pin */
  GPIO_InitStruct.Pin = Sig48V_Pin|Inp2_Pin;
  GPIO_InitStruct.Mode = GPIO_MODE_INPUT;
  GPIO_InitStruct.Pull = GPIO_NOPULL;
  HAL_GPIO_Init(GPIOC, &GPIO_InitStruct);

  /*Configure GPIO pin : Inp1_Pin */
  GPIO_InitStruct.Pin = Inp1_Pin;
  GPIO_InitStruct.Mode = GPIO_MODE_INPUT;
  GPIO_InitStruct.Pull = GPIO_NOPULL;
  HAL_GPIO_Init(Inp1_GPIO_Port, &GPIO_InitStruct);

  /*Configure GPIO pin : Inp9_Pin */
  GPIO_InitStruct.Pin = Inp9_Pin;
  GPIO_InitStruct.Mode = GPIO_MODE_INPUT;
  GPIO_InitStruct.Pull = GPIO_NOPULL;
  HAL_GPIO_Init(Inp9_GPIO_Port, &GPIO_InitStruct);

  /* EXTI interrupt init*/
  HAL_NVIC_SetPriority(EXTI0_IRQn, 0, 0);
  HAL_NVIC_EnableIRQ(EXTI0_IRQn);

  HAL_NVIC_SetPriority(EXTI1_IRQn, 0, 0);
  HAL_NVIC_EnableIRQ(EXTI1_IRQn);

  HAL_NVIC_SetPriority(EXTI2_IRQn, 0, 0);
  HAL_NVIC_EnableIRQ(EXTI2_IRQn);

  HAL_NVIC_SetPriority(EXTI3_IRQn, 0, 0);
  HAL_NVIC_EnableIRQ(EXTI3_IRQn);

  HAL_NVIC_SetPriority(EXTI4_IRQn, 0, 0);
  HAL_NVIC_EnableIRQ(EXTI4_IRQn);

  HAL_NVIC_SetPriority(EXTI9_5_IRQn, 0, 0);
  HAL_NVIC_EnableIRQ(EXTI9_5_IRQn);

  HAL_NVIC_SetPriority(EXTI15_10_IRQn, 0, 0);
  HAL_NVIC_EnableIRQ(EXTI15_10_IRQn);

}

/* USER CODE BEGIN 4 */
void TimerLow(char index)
{
	switch(index)
	{
		case T2_CH4:
			__HAL_TIM_SetCompare(&htim2, TIM_CHANNEL_4,0);
		break;

		case T2_CH3:
			__HAL_TIM_SetCompare(&htim2, TIM_CHANNEL_3,0);
		break;

		/*case T1_CH4:
			__HAL_TIM_SetCompare(&htim1, TIM_CHANNEL_4,0);
		break;

		case T1_CH3:
			__HAL_TIM_SetCompare(&htim1, TIM_CHANNEL_3,0);
		break;

		case T1_CH2:
			__HAL_TIM_SetCompare(&htim1, TIM_CHANNEL_2,0);
		break;

		case T1_CH1:
			__HAL_TIM_SetCompare(&htim1, TIM_CHANNEL_1,0);
		break;

		case T3_CH4:
			__HAL_TIM_SetCompare(&htim3, TIM_CHANNEL_4,0);
		break;*/
	}
}

uint16_t PWMLow = 0;

void AllSignalVoltageLow(void){
	PWMLow++;
	__HAL_TIM_SetCompare(&htim2, TIM_CHANNEL_4,1);
	__HAL_TIM_SetCompare(&htim2, TIM_CHANNEL_3,1);
}

void ApplyPwms(void){
 if ((M[MOTOR1].pwm <= MAX_PWM ) && (M[MOTOR1].pwm >= MIN_PWM)){
	__HAL_TIM_SetCompare(&htim2, TIM_CHANNEL_4,M[MOTOR1].pwm);
 }

 if ((M[MOTOR2].pwm <= MAX_PWM ) && (M[MOTOR2].pwm >= MIN_PWM)){
	__HAL_TIM_SetCompare(&htim2, TIM_CHANNEL_3,M[MOTOR2].pwm);
 }

}
/* USER CODE END 4 */

void Error_Handler(void)
{
  __disable_irq();
  while (1)
  {
  }
}
